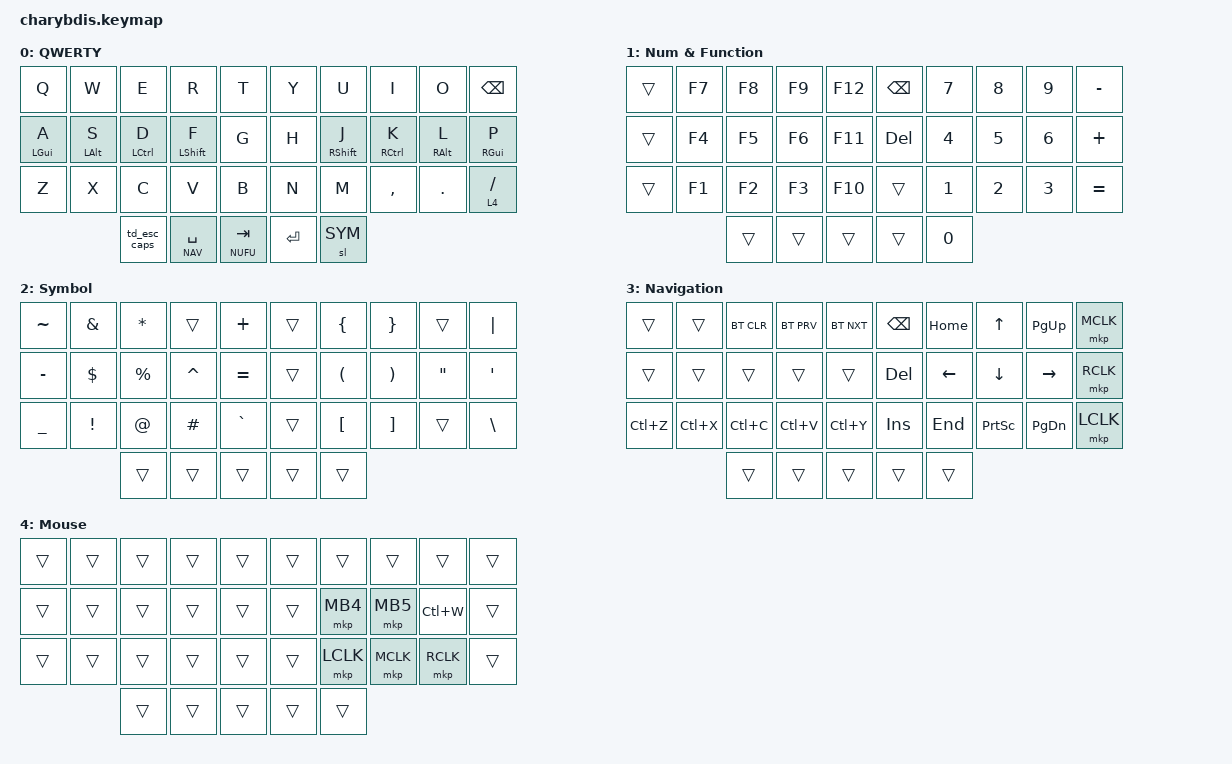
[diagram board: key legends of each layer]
#include <dt-bindings/zmk/mouse.h>
#include <behaviors/mouse_keys.dtsi>
#include <behaviors.dtsi>
#include <dt-bindings/zmk/bt.h>
#include <dt-bindings/zmk/keys.h>
#include <dt-bindings/zmk/outputs.h>
#include <dt-bindings/zmk/ext_power.h>

// 레이어 정의

#define BASE 0
#define NUFU 1
#define SYM 2
#define NAV 3

&sl { release-after-ms = <250>; };

&mt {
    tapping-term-ms = <280>;
    require-prior-idle-ms = <150>;
};

/ {
    chosen { zmk,matrix_transform = &five_column_transform; };

    #include "combos.dtsi"

    behaviors {
        hml: homewrow_mods_left {
            compatible = "zmk,behavior-hold-tap";
            label = "HOMEROW_MODS_LEFT_HAND";
            bindings = <&kp>, <&kp>;

            #binding-cells = <2>;
            tapping-term-ms = <280>;
            hold-trigger-key-positions = <5 6 7 8 9 15 16 17 18 19 25 26 27 28 29 33 34>;
            flavor = "tap-preferred";
            quick-tap-ms = <175>;
            require-prior-idle-ms = <125>;
            hold-trigger-on-release;
        };

        hmr: homewrow_mods_right {
            compatible = "zmk,behavior-hold-tap";
            label = "HOMEROW_MODS_RIGHT_HAND";
            bindings = <&kp>, <&kp>;

            #binding-cells = <2>;
            tapping-term-ms = <280>;
            hold-trigger-key-positions = <0 1 2 3 4 10 11 12 13 14 20 21 22 23 24 30 31 32>;
            flavor = "tap-preferred";
            quick-tap-ms = <175>;
            require-prior-idle-ms = <125>;
            hold-trigger-on-release;
        };

        // 탭댄스 - 짧게 누르면 ESC, 길게 누르면 Caps Lock

        td_esc_caps: tap_dance_esc_caps {
            compatible = "zmk,behavior-tap-dance";
            label = "TAP_DANCE_ESC_CAPS";
            #binding-cells = <0>;
            tapping-term-ms = <200>;
            bindings = <&kp ESC>, <&kp CAPS>;
        };
    };

    keymap {
        compatible = "zmk,keymap";

        Base {
            label = "QWERTY";
            bindings = <
  &kp Q        &kp W        &kp E         &kp R          &kp T           &kp Y      &kp U         &kp I         &kp O        &kp BACKSPACE
  &hml LGUI A  &hml LALT S  &hml LCTRL D  &hml LSHFT F   &kp G           &kp H      &hmr RSHFT J  &hmr RCTRL K  &hmr RALT L  &hmr RGUI P
  &kp Z        &kp X        &kp C         &kp V          &kp B           &kp N      &kp M         &kp COMMA     &kp DOT      &lt 4 SLASH
                            &td_esc_caps  &lt NAV SPACE  &lt NUFU TAB    &kp ENTER  &sl SYM
            >;
        };

        NuFu {
            label = "Num & Function";
            bindings = <
  &trans  &kp F7  &kp F8  &kp F9  &kp F12    &kp BSPC  &kp N7  &kp N8  &kp N9  &kp MINUS
  &trans  &kp F4  &kp F5  &kp F6  &kp F11    &kp DEL   &kp N4  &kp N5  &kp N6  &kp PLUS
  &trans  &kp F1  &kp F2  &kp F3  &kp F10    &trans    &kp N1  &kp N2  &kp N3  &kp EQUAL
                  &trans  &trans  &trans     &trans    &kp N0
            >;
        };

        Symbol {
            label = "Symbol";
            bindings = <
  &kp TILDE  &kp AMPS  &kp STAR   &trans     &kp PLUS     &trans  &kp LBRC  &kp RBRC  &trans   &kp PIPE
  &kp MINUS  &kp DLLR  &kp PRCNT  &kp CARET  &kp EQUAL    &trans  &kp LPAR  &kp RPAR  &kp DQT  &kp APOS
  &kp UNDER  &kp EXCL  &kp AT     &kp HASH   &kp GRAVE    &trans  &kp LBKT  &kp RBKT  &trans   &kp BSLH
                       &trans     &trans     &trans       &trans  &trans
            >;
        };

        Navigation {
            label = "Navigation";
            bindings = <
  &trans     &trans     &bt BT_CLR  &bt BT_PRV  &bt BT_NXT    &kp BSPC  &kp HOME  &kp UP     &kp PAGE_UP    &mkp MCLK
  &trans     &trans     &trans      &trans      &trans        &kp DEL   &kp LEFT  &kp DOWN   &kp RIGHT      &mkp RCLK
  &kp LC(Z)  &kp LC(X)  &kp LC(C)   &kp LC(V)   &kp LC(Y)     &kp INS   &kp END   &kp PSCRN  &kp PAGE_DOWN  &mkp LCLK
                        &trans      &trans      &trans        &trans    &trans
            >;
        };

        Mouse {
            bindings = <
  &trans  &trans  &trans  &trans  &trans    &trans  &trans     &trans     &trans     &trans
  &trans  &trans  &trans  &trans  &trans    &trans  &mkp MB4   &mkp MB5   &kp LC(W)  &trans
  &trans  &trans  &trans  &trans  &trans    &trans  &mkp LCLK  &mkp MCLK  &mkp RCLK  &trans
                  &trans  &trans  &trans    &trans  &trans
            >;
        };
    };
};
